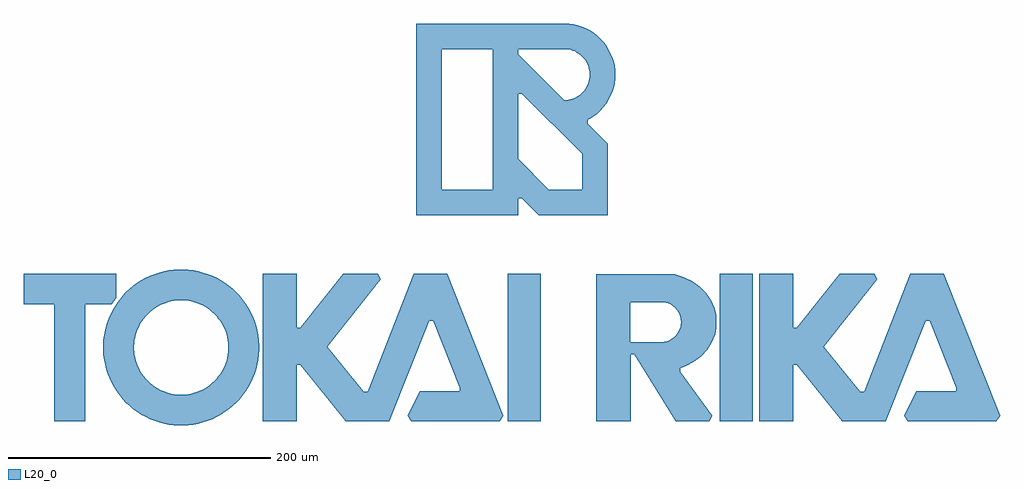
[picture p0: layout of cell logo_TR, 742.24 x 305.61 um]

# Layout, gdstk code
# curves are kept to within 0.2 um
import gdstk
lib = gdstk.Library(unit=1e-6, precision=1e-09)
def R(c, l, rs):  # rectangles x0, y0, x1, y1
    for r in rs: c.add(gdstk.rectangle(r[:2], r[2:], *l))
def P(c, l, *ps):  # polygons
    for p in ps: c.add(gdstk.Polygon(p, *l))
L20_0 = (20, 0)

logo_tr = lib.new_cell('logo_TR')
R(logo_tr, L20_0, [(367.906,0,393.106,112), (529.186,0,554.386,112)])
P(logo_tr, L20_0, [(298.242,156.8),(298.242,282.989),(317.653,282.989),(317.653,176.211),(356.482,176.211),(356.482,249.123),(375.893,249.123),(375.893,199.507),(399.189,176.211),(424.431,176.211),(424.431,203.392),(378.693,249.123),(356.482,249.123),(356.482,282.989),(375.893,282.989),(375.893,279.104),(410.837,244.16),(414.211,244.454),(417.501,245.336),(421.974,247.667),(424.564,249.844),(426.741,252.441),(428.435,255.374),(429.961,260.204),(430.255,263.571),(429.954,266.945),(429.086,270.214),(427.658,273.273),(425.719,276.038),(423.304,278.453),(420.539,280.392),(417.48,281.82),(414.211,282.688),(410.837,282.989),(298.242,282.989),(298.242,302.4),(414.596,302.204),(420.896,301.077),(427.266,298.753),(433.104,295.379),(438.291,291.025),(440.58,288.54),(444.472,282.975),(446.019,280),(448.343,273.63),(449.519,266.952),(449.519,260.197),(449.078,256.837),(448.343,253.512),(446.019,247.148),(442.645,241.304),(440.58,238.609),(435.806,233.835),(433.104,231.77),(428.904,229.247),(428.904,226.093),(443.842,211.155),(443.842,156.8),(391.426,156.8),(378.693,169.533),(375.893,169.533),(375.893,156.8)],
  [(435.204,0),(435.204,90.51),(460.95,90.51),(460.95,60.116),(485.492,60.13),(488.04,60.536),(490.49,61.362),(492.758,62.594),(494.802,64.176),(497.28,67.158),(498.484,69.44),(499.282,71.904),(499.688,75.754),(499.408,78.33),(498.694,80.808),(497.588,83.146),(496.09,85.26),(494.27,87.079),(492.156,88.578),(489.832,89.698),(487.34,90.412),(435.204,90.51),(435.204,111.608),(494.942,111.608),(501.788,109.508),(508.256,106.33),(513.996,102.214),(518.84,97.286),(522.634,91.686),(525.266,85.596),(526.379,80.447),(526.379,70.566),(525.588,66.234),(523.152,60.074),(519.54,54.39),(514.864,49.336),(509.25,45.08),(502.894,41.734),(498.918,40.408),(498.918,37.458),(523.257,4.2),(521.122,0),(495.642,0),(464.062,51.072),(461.258,51.072),(461.258,0)],
  [(22.96,0),(22.96,88.816),(0,88.816),(0,112),(70,112),(70,93.747),(66.685,88.9),(46.48,88.9),(46.48,0)],
  [(181.594,0),(181.594,112),(207.298,112),(207.298,71.26),(210.101,71.26),(242.732,112),(269.178,112),(271.212,107.8),(230.622,56.574),(258.546,22.477),(261.552,22.477),(296.52,112),(321.902,112),(364.644,4.2),(361.788,0),(294.63,0),(292.013,4.2),(301.126,22.652),(331.492,22.652),(331.492,25.452),(311.122,76.384),(308.105,76.384),(277.69,0),(244.72,0),(210.102,43.113),(207.298,43.113),(207.298,0)],
  [(559.188,0),(559.188,112),(584.892,112),(584.892,71.26),(587.695,71.26),(620.326,112),(646.772,112),(648.806,107.8),(608.216,56.574),(636.14,22.477),(639.146,22.477),(674.114,112),(699.496,112),(742.238,4.2),(739.382,0),(672.224,0),(669.607,4.2),(678.72,22.652),(709.086,22.652),(709.086,25.452),(688.716,76.384),(685.699,76.384),(655.284,0),(622.314,0),(587.696,43.113),(584.892,43.113),(584.892,0)],
  [(117.642,-3.206),(113.918,-2.982),(106.568,-1.806),(99.414,0.266),(95.956,1.638),(92.582,3.22),(86.17,7.014),(80.276,11.578),(77.56,14.14),(72.632,19.725),(68.446,25.886),(66.654,29.148),(63.7,35.98),(61.614,43.134),(60.928,46.802),(60.214,54.208),(60.214,57.946),(60.452,61.656),(61.614,69.02),(63.7,76.174),(66.654,83.006),(68.446,86.268),(72.324,92.008),(118.384,92.008),(113.89,91.588),(109.48,90.594),(105.224,89.068),(101.206,87.024),(95.732,83.048),(92.54,79.856),(89.768,76.286),(87.472,72.394),(85.68,68.25),(84,61.698),(83.58,57.204),(83.72,52.696),(84.42,48.23),(85.68,43.904),(87.472,39.76),(89.768,35.868),(92.54,32.298),(95.732,29.106),(101.206,25.13),(105.224,23.086),(109.48,21.56),(113.89,20.566),(118.384,20.146),(122.892,20.286),(127.344,21),(131.684,22.246),(135.828,24.052),(139.706,26.348),(143.276,29.106),(146.468,32.298),(149.24,35.868),(152.502,41.803),(154.588,48.23),(155.442,54.95),(155.302,59.458),(154.588,63.924),(152.502,70.35),(149.24,76.286),(146.468,79.856),(143.276,83.048),(137.802,87.024),(133.784,89.068),(129.542,90.594),(125.132,91.588),(120.638,92.008),(72.324,92.008),(75.012,95.298),(80.276,100.576),(86.17,105.14),(92.582,108.92),(99.414,111.888),(106.568,113.96),(113.918,115.122),(121.366,115.36),(128.786,114.66),(132.44,113.96),(136.052,113.036),(143.066,110.516),(146.44,108.92),(152.852,105.14),(158.732,100.576),(161.448,98.014),(166.376,92.428),(170.562,86.268),(173.95,79.632),(175.322,76.174),(177.394,69.02),(178.094,65.352),(178.794,57.946),(178.794,54.208),(178.094,46.802),(177.394,43.134),(175.322,35.98),(173.95,32.522),(170.562,25.886),(166.376,19.725),(161.448,14.14),(158.732,11.578),(152.852,7.014),(149.702,5.026),(146.44,3.22),(139.594,0.266),(136.052,-0.882),(128.786,-2.506),(125.09,-2.982)])

lib.write_gds('logo_TR.gds')
